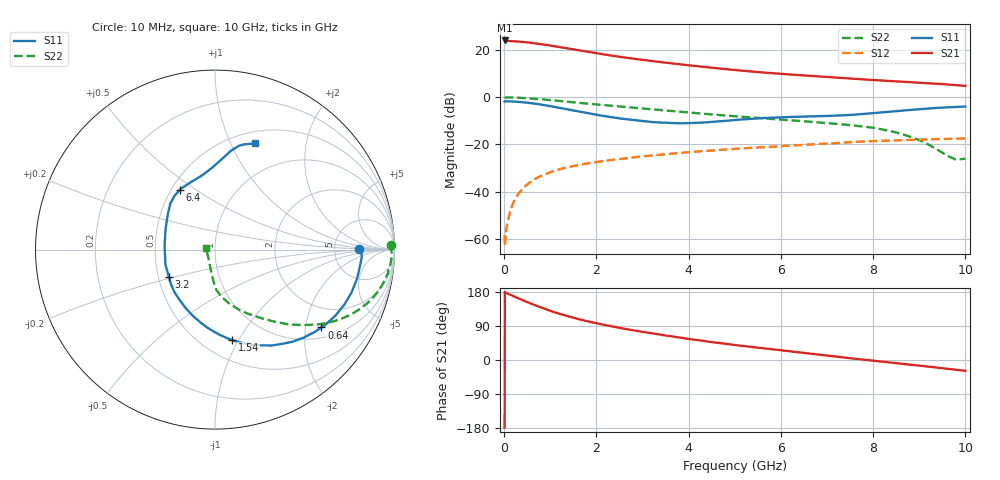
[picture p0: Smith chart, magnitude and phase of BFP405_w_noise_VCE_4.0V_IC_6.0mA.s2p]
! (c) 2016  Infineon Technologies AG, Munich
! Infineon Technologies  Discrete & RF Semiconductors
! BFP405
! VCE =  4.0 V,  IC =  6.0 mA
! Common Emitter S-Parameters:  Jan 2016
# GHz  S  MA  R  50
!  f  S11  S21  S12  S22
! GHz  MAG  ANG  MAG  ANG  MAG  ANG  MAG  ANG
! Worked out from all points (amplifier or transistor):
!   233 points, 10 MHz to 10 GHz, reference 50 ohm
!   highest |S21| = 24.0 dB at 10 MHz (marker M1)
!   |S21| within 3 dB of that: start of sweep to 1.261 GHz
!   unconditionally stable (mu >= 1): start of sweep to 21.42 MHz; 3.244 GHz to end of sweep
!   at 200 MHz: K = 0.20, MSG = 34.2 dB, |S12| = -44.7 dB
!   at 1.74 GHz: K = 0.61, MSG = 23.8 dB, |S12| = -28.3 dB
!   at 10 GHz: K = 1.41, MAG = 7.3 dB, |S12| = -17.5 dB
!   lowest NFmin = 1.32 dB at 900 MHz
!   S11 on the Smith chart (normalised r, x): 10 MHz: 9.24, +0.22; 640 MHz: 1.30, -2.45; 1.54 GHz: 0.69, -0.94; 3.2 GHz: 0.57, -0.19; 6.4 GHz: 0.55, +0.43; 10 GHz: 0.63, +1.24
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0.01  0.8047 0.3  15.84 -178.5  0.0012 -12.2  0.9808 1.5
0.02  0.8153 -1.0  15.61 177.6  0.0007 57.2  0.9799 0.1
0.08  0.8157 -4.6  15.39 174.8  0.0024 73.7  0.9851 -1.8
0.24  0.8025 -13.8  15.18 166.4  0.007 79.3  0.973 -6.2
0.44  0.7752 -25.4  14.62 155.9  0.0125 75.9  0.9569 -11.1
0.64  0.7341 -36.2  13.89 146.0  0.0178 71.7  0.9284 -15.7
0.8  0.6963 -44.8  13.27 138.4  0.0215 68.6  0.9023 -19.1
1.02  0.6398 -55.4  12.28 128.9  0.0262 64.7  0.8627 -23.2
1.3  0.5698 -68.5  11.05 118.2  0.0315 60.5  0.8125 -27.8
1.54  0.5133 -79.1  10.07 110.1  0.0354 57.5  0.7711 -31.2
1.68  0.4839 -85.1  9.551 105.8  0.0376 56.0  0.7483 -33.0
2  0.4242 -98.7  8.476 96.8  0.0422 53.0  0.7007 -36.6
2.4  0.3675 -115.7  7.384 87.1  0.0476 49.9  0.6473 -40.5
2.78  0.3303 -131.8  6.558 78.8  0.0527 47.3  0.6021 -44.0
3.2  0.2979 -149.6  5.816 70.6  0.0582 44.4  0.5546 -47.6
3.4  0.2898 -158.6  5.509 66.7  0.0608 43.0  0.5328 -49.4
4  0.2819 175.3  4.723 55.5  0.0683 39.1  0.4729 -54.8
5.1  0.3338 141.2  3.676 38.1  0.0814 31.7  0.3875 -64.6
6.4  0.3856 120.8  2.926 20.1  0.0971 23.4  0.3139 -74.6
6.8  0.3938 113.4  2.749 14.5  0.1023 20.6  0.2926 -77.8
8.4  0.4965 86.7  2.174 -7.0  0.1209 7.4  0.1885 -91.5
10  0.6323 69.3  1.729 -28.5  0.1332 -4.8  0.05 171.5
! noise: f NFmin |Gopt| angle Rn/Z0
0.9  1.32  0.32  10  0.32
1.8  1.58  0.25  16  0.31
2.4  1.71  0.21  23  0.31
3  1.74  0.18  41  0.28
4  1.9  0.07  58  0.25
5  2.27  0.03  180  0.23
